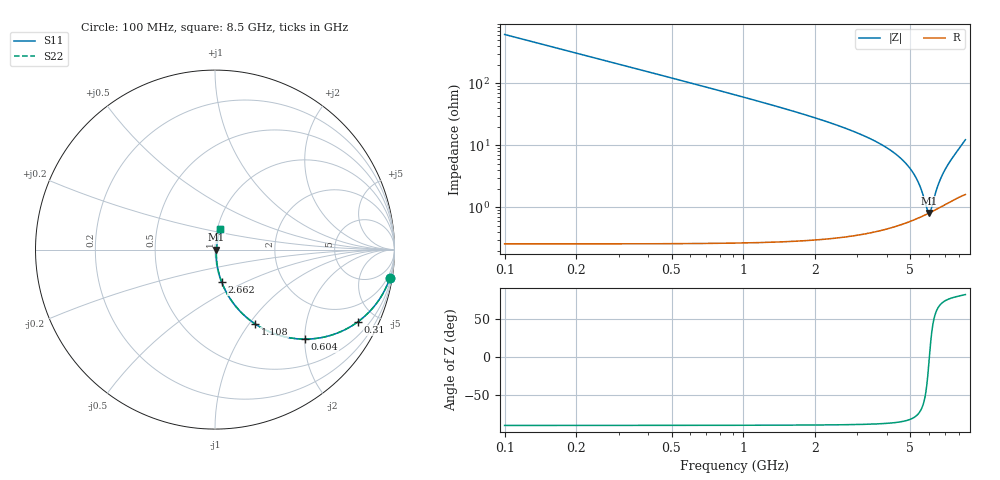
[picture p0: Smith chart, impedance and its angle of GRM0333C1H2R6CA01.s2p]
!Murata Part Number: GRM0333C1H2R6CA01
!These Parameters are Measured in Series Mode Connection
!Data Generated on Mar 30, 2021
!  o--ll--o
!Port1  Port2
!  o------o
!Operation Temp=25[degC], DC Bias Voltage=0[V]
!Freq. Start=100[MHz] Stop=9[GHz] 401[Steps]
# Hz S RI R 50
!Freq.(Hz) S11(Real) S11(Imag) S21(Real) S21(Imag) S12(Real) S12(Imag) S22(Real) S22(Imag)
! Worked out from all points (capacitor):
!   401 points, 100 MHz to 8.5 GHz, reference 50 ohm
!   read as one part in series: C = 2.6 pF near 142 MHz
!   lowest |Z| = 807 mohm at 6.001 GHz (marker M1)
!   series resonance near 6.006 GHz, so ESL is about 270 pH
!   S11 on the Smith chart (normalised r, x): 100 MHz: 1, -12; 310 MHz: 1.01, -3.94; 604 MHz: 1.01, -2.01; 1.108 GHz: 1.01, -1.07; 2.662 GHz: 1.01, -0.38; 8.5 GHz: 1.03, +0.24
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1e8  0.9739 -0.1591  0.0261 0.1591  0.0261 0.1591  0.9739 -0.1591
2.05e8  0.8988 -0.3012  0.1012 0.3012  0.1012 0.3012  0.8988 -0.3012
3.1e8  0.7948 -0.4032  0.2052 0.4032  0.2052 0.4032  0.7948 -0.4032
4.36e8  0.661 -0.4724  0.339 0.4724  0.339 0.4724  0.661 -0.4724
6.04e8  0.5022 -0.4987  0.4978 0.4987  0.4978 0.4987  0.5022 -0.4987
8.35e8  0.3423 -0.4727  0.6577 0.4727  0.6577 0.4727  0.3423 -0.4727
1.108e9  0.2241 -0.4145  0.7759 0.4145  0.7759 0.4145  0.2241 -0.4145
1.507e9  0.1299 -0.3326  0.8701 0.3326  0.8701 0.3326  0.1299 -0.3326
2.662e9  0.0375 -0.1814  0.9625 0.1814  0.9625 0.1814  0.0375 -0.1814
2.914e9  0.0297 -0.1596  0.9703 0.1596  0.9703 0.1596  0.0297 -0.1596
4.3e9  0.0102 -0.0729  0.9898 0.0729  0.9898 0.0729  0.0102 -0.0729
4.783e9  0.00805 -0.0501  0.992 0.0501  0.992 0.0501  0.00805 -0.0501
5.161e9  0.00732 -0.0338  0.9927 0.0338  0.9927 0.0338  0.00732 -0.0338
5.455e9  0.00722 -0.0217  0.9928 0.0217  0.9928 0.0217  0.00722 -0.0217
5.707e9  0.00743 -0.0116  0.9926 0.0116  0.9926 0.0116  0.00743 -0.0116
5.896e9  0.00776 -0.00425  0.9922 0.00425  0.9922 0.00425  0.00776 -0.00425
6.001e9  0.008 -0.000179  0.992 0.000179  0.992 0.000179  0.008 -0.000179
6.106e9  0.00828 0.00387  0.9917 -0.00387  0.9917 -0.00387  0.00828 0.00387
6.358e9  0.00914 0.0135  0.9909 -0.0135  0.9909 -0.0135  0.00914 0.0135
6.568e9  0.01 0.0216  0.99 -0.0216  0.99 -0.0216  0.01 0.0216
7.114e9  0.0132 0.0431  0.9868 -0.0431  0.9868 -0.0431  0.0132 0.0431
8.5e9  0.0297 0.1161  0.9703 -0.1161  0.9703 -0.1161  0.0297 0.1161
